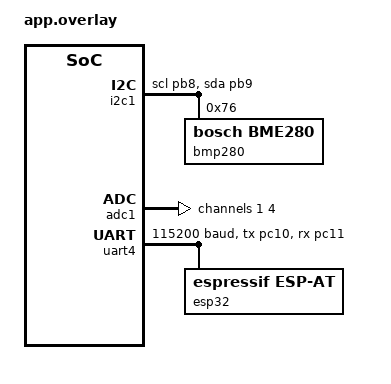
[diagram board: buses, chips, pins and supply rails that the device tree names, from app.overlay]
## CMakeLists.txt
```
cmake_minimum_required(VERSION 3.20.0)
find_package(Zephyr REQUIRED HINTS $ENV{ZEPHYR_BASE})
project(aliases)

target_include_directories(app PRIVATE include)

target_sources(app PRIVATE 
    src/main.c 
    src/lcd.c 
    src/wifi_mgr.c 
    src/mqtt_mgr.c 
    src/app.c
)
```

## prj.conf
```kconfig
# Seri Port ve Kesme Desteği
CONFIG_SERIAL=y
CONFIG_UART_INTERRUPT_DRIVEN=y

# I2C Desteği (LCD ve BMP280 için)
CONFIG_I2C=y

# Sensör ve ADC Desteği
CONFIG_SENSOR=y
CONFIG_BME280=y
CONFIG_ADC=y
CONFIG_CBPRINTF_FP_SUPPORT=y

# Networking ve Wi-Fi
CONFIG_NETWORKING=y
CONFIG_NET_L2_WIFI_MGMT=y
CONFIG_NET_L2_ETHERNET=n
CONFIG_NET_SOCKETS=y

# MQTT Desteği
CONFIG_MQTT_LIB=y
CONFIG_NET_TCP=y

# ESP-AT Modem Sürücüsü
CONFIG_WIFI=y
CONFIG_WIFI_ESP_AT=y

# IP Yapılandırması (IPv4 / DHCP)
CONFIG_NET_IPV4=y
CONFIG_NET_DHCPV4=y
CONFIG_NET_MAX_CONTEXTS=10

# Bellek Boyutları
CONFIG_MAIN_STACK_SIZE=4096
CONFIG_SYSTEM_WORKQUEUE_STACK_SIZE=4096
CONFIG_NET_MGMT_EVENT_STACK_SIZE=4096
CONFIG_NET_TX_STACK_SIZE=4096
CONFIG_NET_RX_STACK_SIZE=4096

# Rastgele Sayı Üreteci
CONFIG_ENTROPY_GENERATOR=y
CONFIG_TEST_RANDOM_GENERATOR=y

# Log Çıktıları
CONFIG_LOG=y
CONFIG_NET_LOG=y
CONFIG_MQTT_LOG_LEVEL_INF=y
```

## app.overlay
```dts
/ {
    aliases {
        esp32-wifi = &esp32;
    };
};

&pinctrl {
    uart4_tx_pc10: uart4_tx_pc10 {
        pinmux = <STM32_PINMUX('C', 10, AF8)>;
    };
    uart4_rx_pc11: uart4_rx_pc11 {
        pinmux = <STM32_PINMUX('C', 11, AF8)>;
    };
};

&i2c1 {
    status = "okay";
    pinctrl-0 = <&i2c1_scl_pb8 &i2c1_sda_pb9>;
    pinctrl-names = "default";

    bmp280: bmp280@76 {
        compatible = "bosch,bme280";
        reg = <0x76>;
        status = "okay";
    };
};

&adc1 {
    status = "okay";
    st,adc-prescaler = <2>;
    #address-cells = <1>;
    #size-cells = <0>;

    /* PA1 -> A1 Pini (LM35) */
    channel@1 {
        reg = <1>;
        zephyr,gain = "ADC_GAIN_1";
        zephyr,reference = "ADC_REF_INTERNAL";
        zephyr,acquisition-time = <ADC_ACQ_TIME_DEFAULT>;
        zephyr,resolution = <12>;
    };

    /* PA4 -> A2 Pini (Toprak Nemi) */
    channel@4 {
        reg = <4>;
        zephyr,gain = "ADC_GAIN_1";
        zephyr,reference = "ADC_REF_INTERNAL";
        zephyr,acquisition-time = <ADC_ACQ_TIME_DEFAULT>;
        zephyr,resolution = <12>;
    };
};

&uart4 {
    pinctrl-0 = <&uart4_tx_pc10 &uart4_rx_pc11>;
    pinctrl-names = "default";
    current-speed = <115200>;
    status = "okay";

    esp32: esp32 {
        compatible = "espressif,esp-at";
        status = "okay";
    };
};
```

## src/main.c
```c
#include "app.h"
#include <zephyr/device.h>

int main(void)
{
    app_config_t config = {
        .i2c_dev             = DEVICE_DT_GET(DT_NODELABEL(i2c1)),
        .wifi_ssid           = "Redmi 13",
        .wifi_password       = "Sule19033",
        .mqtt_broker_ip      = "10.150.149.139",
        .mqtt_broker_port    = 1883,
        .mqtt_client_id      = "stm32_f446re_node",
        .mqtt_publish_topic  = "tarim/sensorler",
        .publish_interval_ms = 3000,
    };

    app_set_config(&config);
    app_init();
    app_start_and_wait();

    return 0;
}
```

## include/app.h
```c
#ifndef APP_H_
#define APP_H_

#include <stdint.h>
#include <stdbool.h>
#include <zephyr/device.h>

typedef struct {
    const struct device *i2c_dev;   /* Donanım bağımsız I2C aygıt pointer'ı */
    const char *wifi_ssid;
    const char *wifi_password;
    const char *mqtt_broker_ip;
    uint16_t mqtt_broker_port;
    const char *mqtt_client_id;
    const char *mqtt_publish_topic;
    uint32_t publish_interval_ms;
} app_config_t;

int app_set_config(const app_config_t *config);
int app_init(void);
void app_start_and_wait(void);

#endif
```

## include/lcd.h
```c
#ifndef LCD_H_
#define LCD_H_

#include <zephyr/device.h>
#include <zephyr/drivers/i2c.h>

#define LCD_I2C_ADDR 0x27 /* veya sendeki adres: 0x3F */

void lcd_init(const struct device *i2c_dev);
void lcd_send_cmd(const struct device *i2c_dev, uint8_t cmd);
void lcd_send_data(const struct device *i2c_dev, uint8_t data);
void lcd_clear(const struct device *i2c_dev);
void lcd_set_cursor(const struct device *i2c_dev, uint8_t row, uint8_t col);
void lcd_print(const struct device *i2c_dev, const char *str);

/* Sırayla sayfa döndüren fonksiyon */
void lcd_display_sensors_cycle(const struct device *i2c_dev, float lm35_temp, float bmp_temp, int soil_moist, float pressure);

#endif
```

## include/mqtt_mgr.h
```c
#ifndef MQTT_MGR_H_
#define MQTT_MGR_H_

#include <stdbool.h>
#include <stdint.h>

/* Gelen mesajlar için callback tipi */
typedef void (*mqtt_msg_callback_t)(const char *topic, const char *payload);

typedef struct {
    const char *broker_ip;
    uint16_t broker_port;
    const char *client_id;
    const char *subscribe_topic;
    mqtt_msg_callback_t on_message;
} mqtt_mgr_config_t;

int mqtt_mgr_init(const mqtt_mgr_config_t *cfg);
int mqtt_mgr_connect(void);
void mqtt_mgr_process(void);
int mqtt_mgr_publish(const char *topic, const char *payload);
bool mqtt_mgr_is_connected(void);

#endif /* MQTT_MGR_H_ */
```

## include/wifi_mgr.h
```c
#ifndef WIFI_MGR_H_
#define WIFI_MGR_H_

#include <stdbool.h>

typedef void (*wifi_ip_ready_cb_t)(const char *ip_addr);

int wifi_mgr_init(wifi_ip_ready_cb_t on_ip_ready);
int wifi_mgr_connect(const char *ssid, const char *psk);
bool wifi_mgr_is_connected(void);

#endif
```

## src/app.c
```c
#include "app.h"
#include "wifi_mgr.h"
#include "mqtt_mgr.h"
#include "lcd.h"
#include <zephyr/kernel.h>
#include <zephyr/logging/log.h>
#include <zephyr/device.h>
#include <zephyr/drivers/i2c.h>
#include <zephyr/drivers/adc.h>
#include <zephyr/drivers/gpio.h>
#include <zephyr/drivers/sensor.h>
#include <stdio.h>
#include <stdlib.h>
#include <string.h>

LOG_MODULE_REGISTER(app, LOG_LEVEL_INF);

static app_config_t app_cfg;
static bool config_set = false;
static bool trigger_mqtt = false;

/* Cihaz Tanımları */
static const struct device *adc_dev = DEVICE_DT_GET(DT_NODELABEL(adc1));
static const struct device *bmp_dev = DEVICE_DT_GET(DT_NODELABEL(bmp280));
static const struct device *gpioa_dev = DEVICE_DT_GET(DT_NODELABEL(gpioa));
static const struct device *gpiob_dev = DEVICE_DT_GET(DT_NODELABEL(gpiob));

/* Röle Pinleri */
#define RELAY1_PIN 4  /* PB4 */
#define RELAY2_PIN 5  /* PB5 */
#define RELAY3_PIN 3  /* PB3 */
#define RELAY4_PIN 10 /* PA10 */

/* Röle Durum Kontrolü (state: 1 = Açık, 0 = Kapalı) */
void set_relay(int relay_no, int state)
{
    int pin_val = (state == 1) ? 0 : 1; // Active-LOW: 0V tetikler, 3.3V kapatır

    switch (relay_no) {
        case 1:
            if (device_is_ready(gpiob_dev)) gpio_pin_set(gpiob_dev, RELAY1_PIN, pin_val);
            break;
        case 2:
            if (device_is_ready(gpiob_dev)) gpio_pin_set(gpiob_dev, RELAY2_PIN, pin_val);
            break;
        case 3:
            if (device_is_ready(gpiob_dev)) gpio_pin_set(gpiob_dev, RELAY3_PIN, pin_val);
            break;
        case 4:
            if (device_is_ready(gpioa_dev)) gpio_pin_set(gpioa_dev, RELAY4_PIN, pin_val);
            break;
        default:
            break;
    }
}

/* Flutter'dan Gelen Röle Komutunu Çözümleme */
static void on_mqtt_command(const char *topic, const char *payload)
{
    char *r_ptr = strstr(payload, "\"relay\":");
    char *s_ptr = strstr(payload, "\"state\":");

    if (r_ptr && s_ptr) {
        int r_num = atoi(r_ptr + 8);
        int r_st = atoi(s_ptr + 8);
        set_relay(r_num, r_st);
        LOG_INF("Röle %d durumu: %d yapildi.", r_num, r_st);
    }
}

static void on_ip_ready(const char *ip_addr)
{
    trigger_mqtt = true;
}

int app_set_config(const app_config_t *config)
{
    if (!config) return -EINVAL;
    app_cfg = *config;
    config_set = true;
    return 0;
}

int app_init(void)
{
    if (!config_set) return -EPERM;

    /* LCD Başlatma */
    if (app_cfg.i2c_dev && device_is_ready(app_cfg.i2c_dev)) {
        lcd_init(app_cfg.i2c_dev);
        lcd_clear(app_cfg.i2c_dev);
        lcd_set_cursor(app_cfg.i2c_dev, 0, 0);
        lcd_print(app_cfg.i2c_dev, "Akilli Tarim");
        lcd_set_cursor(app_cfg.i2c_dev, 1, 0);
        lcd_print(app_cfg.i2c_dev, "Sistem Basliyor");
    } else {
        LOG_WRN("LCD I2C cihazi hazir degil veya atanmadi.");
    }

    /* 4'lü Röle GPIO Kurulumu */
    if (device_is_ready(gpiob_dev)) {
        gpio_pin_configure(gpiob_dev, RELAY1_PIN, GPIO_OUTPUT_INACTIVE);
        gpio_pin_configure(gpiob_dev, RELAY2_PIN, GPIO_OUTPUT_INACTIVE);
        gpio_pin_configure(gpiob_dev, RELAY3_PIN, GPIO_OUTPUT_INACTIVE);
    }
    if (device_is_ready(gpioa_dev)) {
        gpio_pin_configure(gpioa_dev, RELAY4_PIN, GPIO_OUTPUT_INACTIVE);
    }

    /* Başlangıçta tüm röleleri kapat */
    set_relay(1, 0);
    set_relay(2, 0);
    set_relay(3, 0);
    set_relay(4, 0);

    /* ADC Kurulumu: Kanal 1 (PA1/A1) ve Kanal 4 (PA4/A2) */
    if (device_is_ready(adc_dev)) {
        struct adc_channel_cfg ch1_cfg = {
            .gain = ADC_GAIN_1,
            .reference = ADC_REF_INTERNAL,
            .acquisition_time = ADC_ACQ_TIME(ADC_ACQ_TIME_TICKS, 480),
            .channel_id = 1, /* PA1 -> A1 (LM35) */
        };
        struct adc_channel_cfg ch4_cfg = {
            .gain = ADC_GAIN_1,
            .reference = ADC_REF_INTERNAL,
            .acquisition_time = ADC_ACQ_TIME(ADC_ACQ_TIME_TICKS, 480),
            .channel_id = 4, /* PA4 -> A2 (Toprak Nemi) */
        };
        adc_channel_setup(adc_dev, &ch1_cfg);
        adc_channel_setup(adc_dev, &ch4_cfg);
    } else {
        LOG_ERR("ADC1 hazir degil!");
    }

    /* BMP280 */
    if (!device_is_ready(bmp_dev)) {
        LOG_WRN("BMP280 hazir degil!");
    }

    wifi_mgr_init(on_ip_ready);

    /* MQTT Yapılandırması */
    mqtt_mgr_config_t m_cfg = {
        .broker_ip = app_cfg.mqtt_broker_ip,
        .broker_port = app_cfg.mqtt_broker_port,
        .client_id = app_cfg.mqtt_client_id,
        .subscribe_topic = "tarim/role/kontrol",
        .on_message = on_mqtt_command,
    };
    mqtt_mgr_init(&m_cfg);

    return 0;
}

/* ADC Ortalama Alan Filtreli Okuma */
static int read_adc_raw_avg(uint8_t channel, int sample_count)
{
    int32_t sum = 0;
    int16_t sample_buffer;
    struct adc_sequence seq = {
        .channels = BIT(channel),
        .buffer = &sample_buffer,
        .buffer_size = sizeof(sample_buffer),
        .resolution = 12,
    };

    for (int i = 0; i < sample_count; i++) {
        if (adc_read(adc_dev, &seq) == 0) {
            sum += sample_buffer;
        }
        k_busy_wait(100);
    }
    return (int)(sum / sample_count);
}

void app_start_and_wait(void)
{
    char payload[128];
    uint32_t elapsed_time = 0;
    uint32_t lcd_elapsed_time = 0;

    while (1) {
        if (!wifi_mgr_is_connected()) {
            wifi_mgr_connect(app_cfg.wifi_ssid, app_cfg.wifi_password);
            k_sleep(K_MSEC(2000));
            continue;
        }

        if (trigger_mqtt && !mqtt_mgr_is_connected()) {
            mqtt_mgr_connect();
        }

        mqtt_mgr_process();

        /* --- SENSÖR OKUMALARI --- */
        /* LM35 -> Kanal 1 (A1 pini) */
        int raw_lm35 = read_adc_raw_avg(1, 10);
        float mv_lm35 = ((float)raw_lm35 * 3300.0f) / 4095.0f;
        float lm35_temp = mv_lm35 / 10.0f;

        /* Toprak Nemi -> Kanal 4 (A2 pini) */
        int raw_moist = read_adc_raw_avg(4, 5);
        int moist_percent = 100 - ((raw_moist * 100) / 4095);
        if (moist_percent < 0) moist_percent = 0;
        if (moist_percent > 100) moist_percent = 100;

        /* BMP280 */
        double bmp_temp = 0.0;
        double bmp_press = 0.0;
        if (device_is_ready(bmp_dev)) {
            struct sensor_value val;
            if (sensor_sample_fetch(bmp_dev) == 0) {
                sensor_channel_get(bmp_dev, SENSOR_CHAN_AMBIENT_TEMP, &val);
                bmp_temp = sensor_value_to_double(&val);

                sensor_channel_get(bmp_dev, SENSOR_CHAN_PRESS, &val);
                bmp_press = sensor_value_to_double(&val) * 10.0;
            }
        }

        /* --- MQTT YAYINI --- */
        if (mqtt_mgr_is_connected()) {
            elapsed_time += 100;
            if (elapsed_time >= app_cfg.publish_interval_ms) {
                snprintf(payload, sizeof(payload),
                         "{\"lm35\":%.1f,\"nem\":%d,\"bmp_t\":%.1f,\"bmp_p\":%.1f}",
                         (double)lm35_temp, moist_percent, bmp_temp, bmp_press);
                mqtt_mgr_publish(app_cfg.mqtt_publish_topic, payload);
                elapsed_time = 0;
            }
        }

        /* --- LCD EKRAN GÜNCELLEME (2 Saniyede Bir Sırayla Değişir) --- */
        if (app_cfg.i2c_dev && device_is_ready(app_cfg.i2c_dev)) {
            lcd_elapsed_time += 100;
            if (lcd_elapsed_time >= 2000) {
                lcd_display_sensors_cycle(app_cfg.i2c_dev, lm35_temp, (float)bmp_temp, moist_percent, (float)bmp_press);
                lcd_elapsed_time = 0;
            }
        }

        k_sleep(K_MSEC(100));
    }
}
```

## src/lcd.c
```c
#include "lcd.h"
#include <stdio.h>
#include <zephyr/kernel.h>

#define LCD_BACKLIGHT 0x08
#define ENABLE        0x04

static void lcd_write_nibble(const struct device *i2c_dev, uint8_t nibble, uint8_t mode)
{
    uint8_t data = (nibble & 0xF0) | mode | LCD_BACKLIGHT;
    uint8_t buf[2];

    buf[0] = data | ENABLE;
    buf[1] = data & ~ENABLE;

    i2c_write(i2c_dev, &buf[0], 1, LCD_I2C_ADDR);
    k_busy_wait(100);
    i2c_write(i2c_dev, &buf[1], 1, LCD_I2C_ADDR);
    k_busy_wait(100);
}

void lcd_send_cmd(const struct device *i2c_dev, uint8_t cmd)
{
    lcd_write_nibble(i2c_dev, cmd & 0xF0, 0);
    lcd_write_nibble(i2c_dev, (cmd << 4) & 0xF0, 0);
    k_msleep(2);
}

void lcd_send_data(const struct device *i2c_dev, uint8_t data)
{
    lcd_write_nibble(i2c_dev, data & 0xF0, 1);
    lcd_write_nibble(i2c_dev, (data << 4) & 0xF0, 1);
    k_busy_wait(200);
}

void lcd_clear(const struct device *i2c_dev)
{
    lcd_send_cmd(i2c_dev, 0x01);
    k_msleep(5);
}

void lcd_set_cursor(const struct device *i2c_dev, uint8_t row, uint8_t col)
{
    uint8_t addr = (row == 0) ? (0x80 + col) : (0xC0 + col);
    lcd_send_cmd(i2c_dev, addr);
    k_msleep(2);
}

void lcd_print(const struct device *i2c_dev, const char *str)
{
    while (*str) {
        lcd_send_data(i2c_dev, (uint8_t)(*str));
        str++;
    }
}

void lcd_init(const struct device *i2c_dev)
{
    k_msleep(100);
    lcd_write_nibble(i2c_dev, 0x30, 0);
    k_msleep(10);
    lcd_write_nibble(i2c_dev, 0x30, 0);
    k_msleep(5);
    lcd_write_nibble(i2c_dev, 0x30, 0);
    k_msleep(5);
    lcd_write_nibble(i2c_dev, 0x20, 0);
    k_msleep(5);

    lcd_send_cmd(i2c_dev, 0x28); 
    k_msleep(2);
    lcd_send_cmd(i2c_dev, 0x0C); 
    k_msleep(2);
    lcd_clear(i2c_dev);
    lcd_send_cmd(i2c_dev, 0x06); 
    k_msleep(2);
}

void lcd_display_sensors_cycle(const struct device *i2c_dev, float lm35_temp, float bmp_temp, int soil_moist, float pressure)
{
    static int step = 0;
    char line1[17];
    char line2[17];

    switch (step) {
    case 0:
        snprintf(line1, sizeof(line1), "LM35 Sicaklik   ");
        snprintf(line2, sizeof(line2), "   %.1f C       ", (double)lm35_temp);
        step = 1;
        break;
    case 1:
        snprintf(line1, sizeof(line1), "BMP280 Sicaklik ");
        snprintf(line2, sizeof(line2), "   %.1f C       ", (double)bmp_temp);
        step = 2;
        break;
    case 2:
        snprintf(line1, sizeof(line1), "Toprak Nemi     ");
        snprintf(line2, sizeof(line2), "   %%%d          ", soil_moist);
        step = 3;
        break;
    case 3:
        snprintf(line1, sizeof(line1), "Hava Basinci    ");
        snprintf(line2, sizeof(line2), "   %.1f hPa    ", (double)pressure);
        step = 0;
        break;
    default:
        step = 0;
        break;
    }

    lcd_set_cursor(i2c_dev, 0, 0);
    lcd_print(i2c_dev, line1);
    lcd_set_cursor(i2c_dev, 1, 0);
    lcd_print(i2c_dev, line2);
}
```

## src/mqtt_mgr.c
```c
#include "mqtt_mgr.h"
#include <zephyr/kernel.h>
#include <zephyr/logging/log.h>
#include <zephyr/net/mqtt.h>
#include <zephyr/net/socket.h>
#include <zephyr/random/random.h>
#include <string.h>

LOG_MODULE_REGISTER(mqtt_mgr, LOG_LEVEL_INF);

static struct mqtt_client client_ctx;
static struct sockaddr_storage broker;
static uint8_t rx_buffer[256];
static uint8_t tx_buffer[256];
static bool connected = false;
static bool connecting = false;

static mqtt_msg_callback_t app_msg_cb = NULL;
static char sub_topic_buf[64];

static int subscribe_to_topic(const char *topic)
{
    struct mqtt_topic subscribe_topic = {
        .topic = {
            .utf8 = (uint8_t *)topic,
            .size = strlen(topic),
        },
        .qos = MQTT_QOS_0_AT_MOST_ONCE,
    };

    const struct mqtt_subscription_list subscription_list = {
        .list = &subscribe_topic,
        .list_count = 1,
        .message_id = sys_rand32_get(),
    };

    LOG_INF("Abone olunuyor: %s", topic);
    return mqtt_subscribe(&client_ctx, &subscription_list);
}

static void mqtt_evt_handler(struct mqtt_client *const client, const struct mqtt_evt *evt)
{
    switch (evt->type) {
    case MQTT_EVT_CONNACK:
        if (evt->result == 0) {
            LOG_INF("MQTT baglantisi basarili.");
            connected = true;
            if (strlen(sub_topic_buf) > 0) {
                subscribe_to_topic(sub_topic_buf);
            }
        } else {
            LOG_ERR("MQTT Connack hatasi: %d", evt->result);
            connected = false;
        }
        connecting = false;
        break;

    case MQTT_EVT_DISCONNECT:
        connected = false;
        connecting = false;
        LOG_WRN("MQTT baglantisi koptu.");
        break;

    case MQTT_EVT_PUBLISH: {
        const struct mqtt_publish_param *p = &evt->param.publish;
        char topic[64] = {0};
        char payload[128] = {0};

        size_t t_len = p->message.topic.topic.size;
        if (t_len >= sizeof(topic)) t_len = sizeof(topic) - 1;
        memcpy(topic, p->message.topic.topic.utf8, t_len);

        size_t p_len = p->message.payload.len;
        if (p_len >= sizeof(payload)) p_len = sizeof(payload) - 1;

        mqtt_read_publish_payload_blocking(client, (uint8_t *)payload, p_len);

        LOG_INF("Gelen Mesaj [%s]: %s", topic, payload);

        if (app_msg_cb) {
            app_msg_cb(topic, payload);
        }
        break;
    }

    default:
        break;
    }
}

int mqtt_mgr_init(const mqtt_mgr_config_t *cfg)
{
    struct sockaddr_in *broker4 = (struct sockaddr_in *)&broker;
    broker4->sin_family = AF_INET;
    broker4->sin_port = htons(cfg->broker_port);
    zsock_inet_pton(AF_INET, cfg->broker_ip, &broker4->sin_addr);

    app_msg_cb = cfg->on_message;
    if (cfg->subscribe_topic) {
        strncpy(sub_topic_buf, cfg->subscribe_topic, sizeof(sub_topic_buf) - 1);
    } else {
        sub_topic_buf[0] = '\0';
    }

    mqtt_client_init(&client_ctx);
    client_ctx.broker = &broker;
    client_ctx.evt_cb = mqtt_evt_handler;
    client_ctx.client_id.utf8 = (uint8_t *)cfg->client_id;
    client_ctx.client_id.size = strlen(cfg->client_id);
    client_ctx.password = NULL;
    client_ctx.user_name = NULL;
    client_ctx.protocol_version = MQTT_VERSION_3_1_1;
    client_ctx.rx_buf = rx_buffer;
    client_ctx.rx_buf_size = sizeof(rx_buffer);
    client_ctx.tx_buf = tx_buffer;
    client_ctx.tx_buf_size = sizeof(tx_buffer);
    client_ctx.transport.type = MQTT_TRANSPORT_NON_SECURE;

    return 0;
}

int mqtt_mgr_connect(void)
{
    if (connected || connecting) return 0;
    connecting = true;
    return mqtt_connect(&client_ctx);
}

void mqtt_mgr_process(void)
{
    if (connecting || connected) {
        mqtt_input(&client_ctx);
        mqtt_live(&client_ctx);
    }
}

int mqtt_mgr_publish(const char *topic, const char *payload)
{
    if (!connected) return -ENOTCONN;

    struct mqtt_publish_param param;
    param.message.topic.qos = MQTT_QOS_0_AT_MOST_ONCE;
    param.message.topic.topic.utf8 = (uint8_t *)topic;
    param.message.topic.topic.size = strlen(topic);
    param.message.payload.data = (uint8_t *)payload;
    param.message.payload.len = strlen(payload);
    param.message_id = sys_rand32_get();
    param.dup_flag = 0;
    param.retain_flag = 0;

    return mqtt_publish(&client_ctx, &param);
}

bool mqtt_mgr_is_connected(void)
{
    return connected;
}
```

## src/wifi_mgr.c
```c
#include "wifi_mgr.h"
#include <zephyr/kernel.h>
#include <zephyr/logging/log.h>
#include <zephyr/net/net_if.h>
#include <zephyr/net/wifi_mgmt.h>
#include <zephyr/net/net_event.h>
#include <string.h>

LOG_MODULE_REGISTER(wifi_mgr, LOG_LEVEL_INF);

static struct net_mgmt_event_callback wifi_cb;
static struct net_mgmt_event_callback ipv4_cb;
static wifi_ip_ready_cb_t ip_callback = NULL;
static bool connected = false;
static char ip_str[NET_IPV4_ADDR_LEN];

static void wifi_mgmt_event_handler(struct net_mgmt_event_callback *cb,
                                    uint64_t mgmt_event, struct net_if *iface)
{
    switch (mgmt_event) {
    case NET_EVENT_WIFI_CONNECT_RESULT: {
        const struct wifi_status *status = (const struct wifi_status *)cb->info;
        if (status->status == 0) {
            LOG_INF("Wi-Fi baglantisi kuruldu.");
            connected = true;
        } else {
            connected = false;
        }
        break;
    }
    case NET_EVENT_IPV4_ADDR_ADD:
        if (iface && iface->config.ip.ipv4) {
            net_addr_ntop(AF_INET, &iface->config.ip.ipv4->unicast[0].ipv4.address.in_addr,
                          ip_str, sizeof(ip_str));
            LOG_INF("IP Alindi: %s", ip_str);
            if (ip_callback) {
                ip_callback(ip_str);
            }
        }
        break;
    case NET_EVENT_WIFI_DISCONNECT_RESULT:
        connected = false;
        break;
    }
}

int wifi_mgr_init(wifi_ip_ready_cb_t on_ip_ready)
{
    ip_callback = on_ip_ready;
    net_mgmt_init_event_callback(&wifi_cb, wifi_mgmt_event_handler,
                                 NET_EVENT_WIFI_CONNECT_RESULT | NET_EVENT_WIFI_DISCONNECT_RESULT);
    net_mgmt_init_event_callback(&ipv4_cb, wifi_mgmt_event_handler,
                                 NET_EVENT_IPV4_ADDR_ADD);

    net_mgmt_add_event_callback(&wifi_cb);
    net_mgmt_add_event_callback(&ipv4_cb);
    return 0;
}

int wifi_mgr_connect(const char *ssid, const char *psk)
{
    struct net_if *iface = net_if_get_default();
    struct wifi_connect_req_params params = {
        .ssid = (const uint8_t *)ssid,
        .ssid_length = strlen(ssid),
        .psk = (const uint8_t *)psk,
        .psk_length = strlen(psk),
        .channel = WIFI_CHANNEL_ANY,
        .security = WIFI_SECURITY_TYPE_PSK,
        .band = WIFI_FREQ_BAND_2_4_GHZ,
        .mfp = WIFI_MFP_OPTIONAL,
    };
    return net_mgmt(NET_REQUEST_WIFI_CONNECT, iface, &params, sizeof(params));
}

bool wifi_mgr_is_connected(void)
{
    return connected;
}
```
